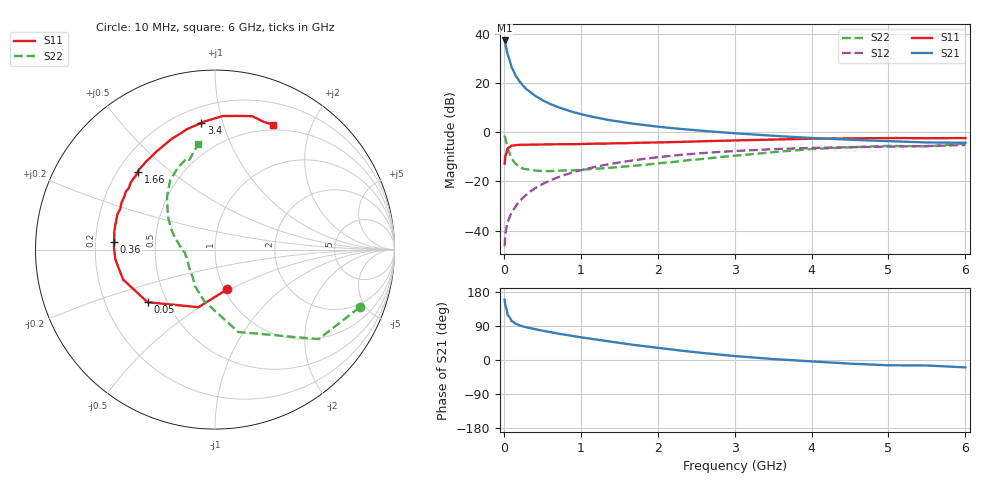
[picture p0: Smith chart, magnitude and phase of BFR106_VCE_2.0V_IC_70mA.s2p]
! Infineon Technologies  Discrete & RF Semiconductors
! BFR106
! VCE =  2.0 V,  IC =  70 mA
! Common Emitter S-Parameters:  Nov 2015
# GHz  S  MA  R  50
!  f  S11  S21  S12  S22
! GHz  MAG  ANG  MAG  ANG  MAG  ANG  MAG  ANG
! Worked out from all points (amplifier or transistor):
!   210 points, 10 MHz to 6 GHz, reference 50 ohm
!   highest |S21| = 37.5 dB at 10 MHz (marker M1)
!   |S21| within 3 dB of that: start of sweep to 31.95 MHz
!   unconditionally stable (mu >= 1): 193.7 MHz to 2.877 GHz; 5.048 GHz to end of sweep
!   at 185 MHz: K = 0.99, MSG = 25.3 dB, |S12| = -28.8 dB
!   at 1.52 GHz: K = 1.06, MAG = 6.8 dB, |S12| = -12.1 dB
!   at 6 GHz: K = 1.01, MAG = -0.1 dB, |S12| = -5.1 dB
!   S11 on the Smith chart (normalised r, x): 10 MHz: 1.03, -0.48; 50 MHz: 0.39, -0.30; 360 MHz: 0.28, +0.03; 1.66 GHz: 0.28, +0.39; 3.4 GHz: 0.30, +0.85; 6 GHz: 0.44, +1.48
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0.01  0.2314 -72.9  75.04 159.5  0.0048 78.4  0.8676 -21.8
0.02  0.3338 -106.0  64.54 143.8  0.0086 66.8  0.7631 -40.8
0.05  0.4765 -142.0  38.66 118.3  0.0149 58.2  0.4772 -74.2
0.1  0.5381 -161.9  21.57 103.0  0.023 63.5  0.2927 -101.9
0.15  0.5493 -170.6  14.69 95.9  0.0306 66.8  0.2325 -118.5
0.2  0.5582 -174.8  11.18 91.6  0.0387 69.5  0.1983 -128.7
0.24  0.5595 -177.9  9.38 89.1  0.0453 70.7  0.1859 -136.3
0.3  0.5631 178.7  7.487 85.8  0.0552 72.4  0.1766 -143.8
0.36  0.5634 175.8  6.391 83.5  0.0651 72.5  0.1706 -149.4
0.4  0.5644 173.9  5.668 81.5  0.0717 72.6  0.1676 -153.4
0.5  0.57 170.2  4.549 77.4  0.0881 72.0  0.1633 -159.7
0.6  0.5719 166.3  3.816 73.6  0.1046 71.2  0.1628 -163.6
0.8  0.5782 160.1  2.903 66.5  0.1376 68.5  0.1679 -170.9
1.02  0.5832 152.5  2.324 59.3  0.1728 65.2  0.1734 -176.2
1.3  0.5897 144.5  1.871 50.7  0.2156 60.6  0.1856 177.4
1.66  0.6107 134.6  1.522 40.6  0.267 54.5  0.2074 170.0
2.02  0.6256 125.6  1.302 31.5  0.3146 48.1  0.2359 162.8
3.1  0.6927 101.5  0.939 9.0  0.4265 30.1  0.3455 139.8
3.4  0.7102 96.1  0.873 4.2  0.4497 25.4  0.3828 134.1
4.1  0.7467 85.4  0.759 -4.9  0.488 15.1  0.4654 121.4
5.1  0.7689 73.3  0.655 -14.1  0.5178 3.4  0.5296 107.0
6  0.768 65.0  0.616 -19.5  0.5539 -5.5  0.5938 99.2
